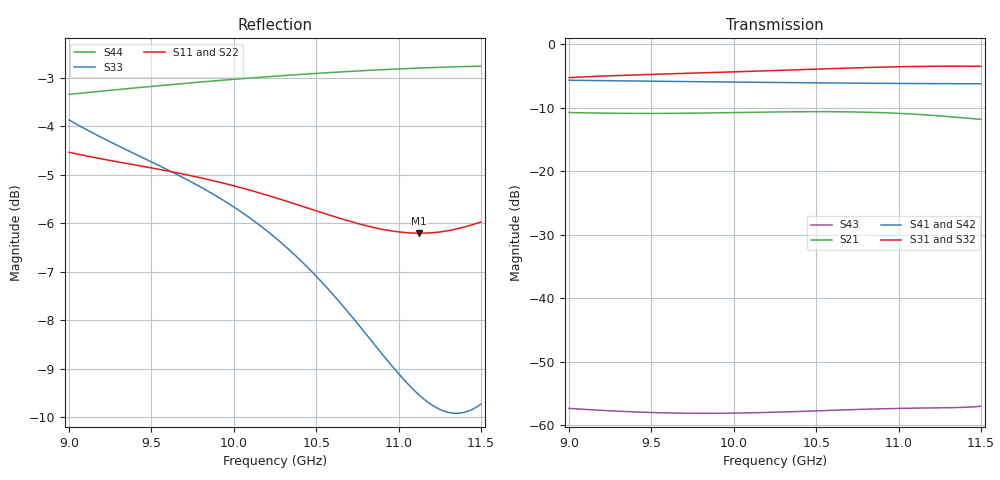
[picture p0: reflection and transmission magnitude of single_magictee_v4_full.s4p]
! Generated from PyAEDT SolutionData; AEDT ExportNetworkData workaround
# GHz S MA R 50
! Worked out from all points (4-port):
!   101 points, 9 GHz to 11.5 GHz, reference 50 ohm
!   strongest paths, dB at 9 GHz, 9.625 GHz, 10.25 GHz, 10.88 GHz, 11.5 GHz:
!     S31: -5.3, -4.7, -4.2, -3.7, -3.5
!     S32: -5.3, -4.7, -4.2, -3.7, -3.5
!     S41: -5.7, -5.9, -6.1, -6.2, -6.3
!     S42: -5.7, -5.9, -6.1, -6.2, -6.3
!     S21: -10.8, -10.9, -10.7, -10.8, -11.9
!     S43: -57.3, -58.1, -57.9, -57.4, -57.0
!   lowest |S11| = -6.2 dB at 11.12 GHz (marker M1), VSWR 2.92, Z = 17.7 + j8.84 ohm
!   |S11| at or under -10 dB: nowhere
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9  0.5933 28.9  0.2891 -65.6  0.5436 -5.2  0.5185 40.6
   0.2891 -65.6  0.5955 28.7  0.5424 -5.3  0.5173 -139.4
   0.5436 -5.2  0.5424 -5.3  0.6405 167.4  0.001359 44.1
   0.5185 40.6  0.5173 -139.4  0.001359 44.1  0.6808 -152.7
9.375  0.5767 -16.0  0.2845 -117.0  0.5695 -71.9  0.512 -0.3
       0.2845 -117.0  0.5788 -16.2  0.5685 -72.1  0.5107 179.7
       0.5695 -71.9  0.5685 -72.1  0.5937 80.2  0.001278 -23.4
       0.512 -0.3  0.5107 179.7  0.001278 -23.4  0.6907 171.7
9.7  0.563 -53.7  0.2853 -159.8  0.5874 -127.6  0.5065 -34.5
     0.2853 -159.8  0.5652 -54.0  0.5865 -127.7  0.5052 145.4
     0.5874 -127.6  0.5865 -127.7  0.5577 8.0  0.001246 -80.7
     0.5065 -34.5  0.5052 145.4  0.001246 -80.7  0.6987 141.6
10.025  0.5464 -90.3  0.289 158.1  0.6054 178.1  0.5014 -67.9
        0.289 158.1  0.5486 -90.7  0.6046 178.0  0.4999 112.0
        0.6054 178.1  0.6046 178.0  0.5176 -62.0  0.001249 -138.3
        0.5014 -67.9  0.4999 112.0  0.001249 -138.3  0.7062 112.2
10.55  0.513 -146.5  0.2933 90.5  0.6376 91.7  0.4942 -120.5
       0.2933 90.5  0.5152 -147.0  0.6373 91.4  0.4924 59.4
       0.6376 91.7  0.6373 91.4  0.4328 -175.4  0.001306 126.2
       0.4942 -120.5  0.4924 59.4  0.001306 126.2  0.7165 65.5
11.125  0.4895 157.2  0.279 17.7  0.6662 -4.3  0.4886 -176.6
        0.279 17.7  0.4909 156.7  0.6671 -4.6  0.4859 3.2
        0.6662 -4.3  0.6671 -4.6  0.3333 47.3  0.001367 19.9
        0.4886 -176.6  0.4859 3.2  0.001367 19.9  0.7247 15.1
11.5  0.5027 121.0  0.2555 -25.0  0.667 -69.5  0.4868 147.3
      0.2555 -25.0  0.503 120.2  0.6699 -69.8  0.4827 -32.9
      0.667 -69.5  0.6699 -69.8  0.3261 -53.6  0.001413 -42.1
      0.4868 147.3  0.4827 -32.9  0.001413 -42.1  0.728 -17.6
